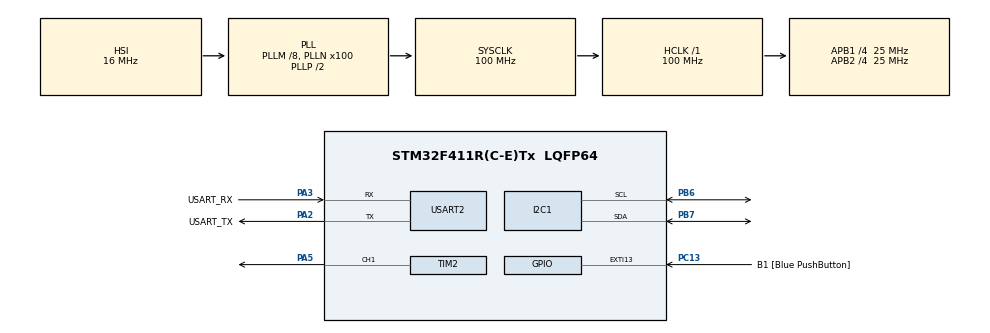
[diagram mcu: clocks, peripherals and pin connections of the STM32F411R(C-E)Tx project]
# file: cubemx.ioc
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Mcu.Family=STM32F4
Mcu.Name=STM32F411R(C-E)Tx
Mcu.Package=LQFP64
NVIC.PriorityGroup=NVIC_PRIORITYGROUP_0
PA13.GPIO_Label=TMS
PA13.Signal=SYS_JTMS-SWDIO
PA14.GPIO_Label=TCK
PA14.Signal=SYS_JTCK-SWCLK
PA2.GPIO_Label=USART_TX
PA2.Mode=Asynchronous
PA2.Signal=USART2_TX
PA3.GPIO_Label=USART_RX
PA3.Mode=Asynchronous
PA3.Signal=USART2_RX
PA5.Signal=S_TIM2_CH1_ETR
PB3.GPIO_Label=SWO
PB3.Signal=SYS_JTDO-SWO
PB6.Mode=I2C
PB6.Signal=I2C1_SCL
PB7.Mode=I2C
PB7.Signal=I2C1_SDA
PC13-ANTI_TAMP.GPIO_Label=B1 [Blue PushButton]
PC13-ANTI_TAMP.GPIO_ModeDefaultEXTI=GPIO_MODE_EVT_RISING
PC13-ANTI_TAMP.Signal=GPXTI13
PC14-OSC32_IN.Signal=RCC_OSC32_IN
PC15-OSC32_OUT.Signal=RCC_OSC32_OUT
PH0\ -\ OSC_IN.Signal=RCC_OSC_IN
PH1\ -\ OSC_OUT.Signal=RCC_OSC_OUT
ProjectManager.HeapSize=0x400
ProjectManager.StackSize=0x200
ProjectManager.TargetToolchain=TrueSTUDIO
RCC.48MHZClocksFreq_Value=50000000
RCC.AHBFreq_Value=100000000
RCC.APB1CLKDivider=RCC_HCLK_DIV4
RCC.APB1Freq_Value=25000000
RCC.APB1TimFreq_Value=50000000
RCC.APB2CLKDivider=RCC_HCLK_DIV4
RCC.APB2Freq_Value=25000000
RCC.APB2TimFreq_Value=50000000
RCC.CortexFreq_Value=100000000
RCC.FLatency-AdvancedSettings=FLASH_LATENCY_2
RCC.HCLKFreq_Value=100000000
RCC.HSE_VALUE=8000000
RCC.HSI_VALUE=16000000
RCC.LSE_VALUE=32768
RCC.PLLM=8
RCC.PLLN=100
RCC.SYSCLKFreq_VALUE=100000000
RCC.SYSCLKSource=RCC_SYSCLKSOURCE_PLLCLK
RCC.VCOOutputFreq_Value=200000000
SH.S_TIM2_CH1_ETR.0=TIM2_CH1,PWM Generation1 CH1
TIM2.ClockDivision=TIM_CLOCKDIVISION_DIV1
TIM2.OCFastMode_PWM-PWM\ Generation1\ CH1=TIM_OCFAST_DISABLE
TIM2.Period=500
TIM2.Prescaler=0
VP_TIM2_VS_ClockSourceINT.Mode=Internal
board=NUCLEO-F411RE

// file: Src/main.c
/**
  ******************************************************************************
  * File Name          : main.c
  * Description        : Main program body
  ******************************************************************************
  *
  * COPYRIGHT(c) 2016 STMicroelectronics
  *
  * Redistribution and use in source and binary forms, with or without modification,
  * are permitted provided that the following conditions are met:
  *   1. Redistributions of source code must retain the above copyright notice,
  *      this list of conditions and the following disclaimer.
  *   2. Redistributions in binary form must reproduce the above copyright notice,
  *      this list of conditions and the following disclaimer in the documentation
  *      and/or other materials provided with the distribution.
  *   3. Neither the name of STMicroelectronics nor the names of its contributors
  *      may be used to endorse or promote products derived from this software
  *      without specific prior written permission.
  *
  * THIS SOFTWARE IS PROVIDED BY THE COPYRIGHT HOLDERS AND CONTRIBUTORS "AS IS"
  * AND ANY EXPRESS OR IMPLIED WARRANTIES, INCLUDING, BUT NOT LIMITED TO, THE
  * IMPLIED WARRANTIES OF MERCHANTABILITY AND FITNESS FOR A PARTICULAR PURPOSE ARE
  * DISCLAIMED. IN NO EVENT SHALL THE COPYRIGHT HOLDER OR CONTRIBUTORS BE LIABLE
  * FOR ANY DIRECT, INDIRECT, INCIDENTAL, SPECIAL, EXEMPLARY, OR CONSEQUENTIAL
  * DAMAGES (INCLUDING, BUT NOT LIMITED TO, PROCUREMENT OF SUBSTITUTE GOODS OR
  * SERVICES; LOSS OF USE, DATA, OR PROFITS; OR BUSINESS INTERRUPTION) HOWEVER
  * CAUSED AND ON ANY THEORY OF LIABILITY, WHETHER IN CONTRACT, STRICT LIABILITY,
  * OR TORT (INCLUDING NEGLIGENCE OR OTHERWISE) ARISING IN ANY WAY OUT OF THE USE
  * OF THIS SOFTWARE, EVEN IF ADVISED OF THE POSSIBILITY OF SUCH DAMAGE.
  *
  ******************************************************************************
  */
#include "stm32f4xx_hal.h"

I2C_HandleTypeDef hi2c1;

TIM_HandleTypeDef htim2;

UART_HandleTypeDef huart2;

/* USER CODE BEGIN PV */
/* Private variables ---------------------------------------------------------*/

/* USER CODE END PV */

void SystemClock_Config(void);
static void MX_GPIO_Init(void);
static void MX_TIM2_Init(void);
static void MX_I2C1_Init(void);
static void MX_USART2_UART_Init(void);

void HAL_TIM_MspPostInit(TIM_HandleTypeDef *htim);

/* USER CODE BEGIN PFP */
/* Private function prototypes -----------------------------------------------*/

/* USER CODE END PFP */

int main(void)
{

  /* MCU Configuration----------------------------------------------------------*/

  /* Reset of all peripherals, Initializes the Flash interface and the Systick. */
  HAL_Init();

  /* Configure the system clock */
  SystemClock_Config();

  /* Initialize all configured peripherals */
  MX_GPIO_Init();
  MX_TIM2_Init();
  MX_I2C1_Init();
  MX_USART2_UART_Init();

  /* USER CODE BEGIN 2 */
  HAL_TIM_PWM_Start(&htim2,TIM_CHANNEL_1);

#define MPU_6050_ADDRESS (0x68 << 1)

  uint8_t data[32];
  data[0] = 0x6B;
  data[1] = 0x80;
  HAL_I2C_Master_Transmit(&hi2c1, MPU_6050_ADDRESS, data, 2, 1000);	//Reset
  HAL_Delay(100);
  data[1] = 0x00;
  HAL_I2C_Master_Transmit(&hi2c1, MPU_6050_ADDRESS, data, 2, 1000);	//Wake up
  HAL_Delay(500);

  /* USER CODE END 2 */

  /* Infinite loop */
  /* USER CODE BEGIN WHILE */
  while (1)
  {
	for (uint16_t i = 0; i < htim2.Init.Period; i++){
		__HAL_TIM_SetCompare(&htim2, TIM_CHANNEL_1, i);
		HAL_Delay(2);
	}
	for (uint16_t i = htim2.Init.Period; i > 0; i--){
		__HAL_TIM_SetCompare(&htim2, TIM_CHANNEL_1, i);
		HAL_Delay(2);
	}

	data[0] = 0x3B;
	HAL_I2C_Master_Transmit(&hi2c1, MPU_6050_ADDRESS, data, 1, 1000);	//Set address to ACCEL_X_H
	HAL_I2C_Master_Receive(&hi2c1, MPU_6050_ADDRESS, data, 6, 1000);	//Read 6 bytes (accel data)
	char buffer[32];
	uint8_t len = snprintf(buffer, sizeof(buffer), "Data: %X %X %X %X %X %X\n", data[0], data[1], data[2], data[3], data[4], data[5]);
	HAL_UART_Transmit(&huart2, (uint8_t *) buffer, len, 0xFFFF);
  /* USER CODE END WHILE */

  }

}

/** System Clock Configuration
*/
void SystemClock_Config(void)
{

  RCC_OscInitTypeDef RCC_OscInitStruct;
  RCC_ClkInitTypeDef RCC_ClkInitStruct;

  __PWR_CLK_ENABLE();

  __HAL_PWR_VOLTAGESCALING_CONFIG(PWR_REGULATOR_VOLTAGE_SCALE1);

  RCC_OscInitStruct.OscillatorType = RCC_OSCILLATORTYPE_HSI;
  RCC_OscInitStruct.HSIState = RCC_HSI_ON;
  RCC_OscInitStruct.HSICalibrationValue = 16;
  RCC_OscInitStruct.PLL.PLLState = RCC_PLL_ON;
  RCC_OscInitStruct.PLL.PLLSource = RCC_PLLSOURCE_HSI;
  RCC_OscInitStruct.PLL.PLLM = 8;
  RCC_OscInitStruct.PLL.PLLN = 100;
  RCC_OscInitStruct.PLL.PLLP = RCC_PLLP_DIV2;
  RCC_OscInitStruct.PLL.PLLQ = 4;
  HAL_RCC_OscConfig(&RCC_OscInitStruct);

  RCC_ClkInitStruct.ClockType = RCC_CLOCKTYPE_HCLK|RCC_CLOCKTYPE_SYSCLK
                              |RCC_CLOCKTYPE_PCLK1|RCC_CLOCKTYPE_PCLK2;
  RCC_ClkInitStruct.SYSCLKSource = RCC_SYSCLKSOURCE_PLLCLK;
  RCC_ClkInitStruct.AHBCLKDivider = RCC_SYSCLK_DIV1;
  RCC_ClkInitStruct.APB1CLKDivider = RCC_HCLK_DIV4;
  RCC_ClkInitStruct.APB2CLKDivider = RCC_HCLK_DIV4;
  HAL_RCC_ClockConfig(&RCC_ClkInitStruct, FLASH_LATENCY_2);

  HAL_SYSTICK_Config(HAL_RCC_GetHCLKFreq()/1000);

  HAL_SYSTICK_CLKSourceConfig(SYSTICK_CLKSOURCE_HCLK);

  /* SysTick_IRQn interrupt configuration */
  HAL_NVIC_SetPriority(SysTick_IRQn, 0, 0);
}

/* I2C1 init function */
void MX_I2C1_Init(void)
{

  hi2c1.Instance = I2C1;
  hi2c1.Init.ClockSpeed = 100000;
  hi2c1.Init.DutyCycle = I2C_DUTYCYCLE_2;
  hi2c1.Init.OwnAddress1 = 0;
  hi2c1.Init.AddressingMode = I2C_ADDRESSINGMODE_7BIT;
  hi2c1.Init.DualAddressMode = I2C_DUALADDRESS_DISABLED;
  hi2c1.Init.OwnAddress2 = 0;
  hi2c1.Init.GeneralCallMode = I2C_GENERALCALL_DISABLED;
  hi2c1.Init.NoStretchMode = I2C_NOSTRETCH_DISABLED;
  HAL_I2C_Init(&hi2c1);

}

/* TIM2 init function */
void MX_TIM2_Init(void)
{

  TIM_ClockConfigTypeDef sClockSourceConfig;
  TIM_MasterConfigTypeDef sMasterConfig;
  TIM_OC_InitTypeDef sConfigOC;

  htim2.Instance = TIM2;
  htim2.Init.Prescaler = 0;
  htim2.Init.CounterMode = TIM_COUNTERMODE_UP;
  htim2.Init.Period = 500;
  htim2.Init.ClockDivision = TIM_CLOCKDIVISION_DIV1;
  HAL_TIM_Base_Init(&htim2);

  sClockSourceConfig.ClockSource = TIM_CLOCKSOURCE_INTERNAL;
  HAL_TIM_ConfigClockSource(&htim2, &sClockSourceConfig);

  HAL_TIM_PWM_Init(&htim2);

  sMasterConfig.MasterOutputTrigger = TIM_TRGO_RESET;
  sMasterConfig.MasterSlaveMode = TIM_MASTERSLAVEMODE_DISABLE;
  HAL_TIMEx_MasterConfigSynchronization(&htim2, &sMasterConfig);

  sConfigOC.OCMode = TIM_OCMODE_PWM1;
  sConfigOC.Pulse = 0;
  sConfigOC.OCPolarity = TIM_OCPOLARITY_HIGH;
  sConfigOC.OCFastMode = TIM_OCFAST_DISABLE;
  HAL_TIM_PWM_ConfigChannel(&htim2, &sConfigOC, TIM_CHANNEL_1);

  HAL_TIM_MspPostInit(&htim2);

}

/* USART2 init function */
void MX_USART2_UART_Init(void)
{

  huart2.Instance = USART2;
  huart2.Init.BaudRate = 115200;
  huart2.Init.WordLength = UART_WORDLENGTH_8B;
  huart2.Init.StopBits = UART_STOPBITS_1;
  huart2.Init.Parity = UART_PARITY_NONE;
  huart2.Init.Mode = UART_MODE_TX_RX;
  huart2.Init.HwFlowCtl = UART_HWCONTROL_NONE;
  huart2.Init.OverSampling = UART_OVERSAMPLING_16;
  HAL_UART_Init(&huart2);

}

/** Configure pins as
        * Analog
        * Input
        * Output
        * EVENT_OUT
        * EXTI
*/
void MX_GPIO_Init(void)
{

  GPIO_InitTypeDef GPIO_InitStruct;

  /* GPIO Ports Clock Enable */
  __GPIOC_CLK_ENABLE();
  __GPIOH_CLK_ENABLE();
  __GPIOA_CLK_ENABLE();
  __GPIOB_CLK_ENABLE();

  /*Configure GPIO pin : B1_Pin */
  GPIO_InitStruct.Pin = B1_Pin;
  GPIO_InitStruct.Mode = GPIO_MODE_EVT_RISING;
  GPIO_InitStruct.Pull = GPIO_NOPULL;
  HAL_GPIO_Init(B1_GPIO_Port, &GPIO_InitStruct);

}

/************************ (C) COPYRIGHT STMicroelectronics *****END OF FILE****/
